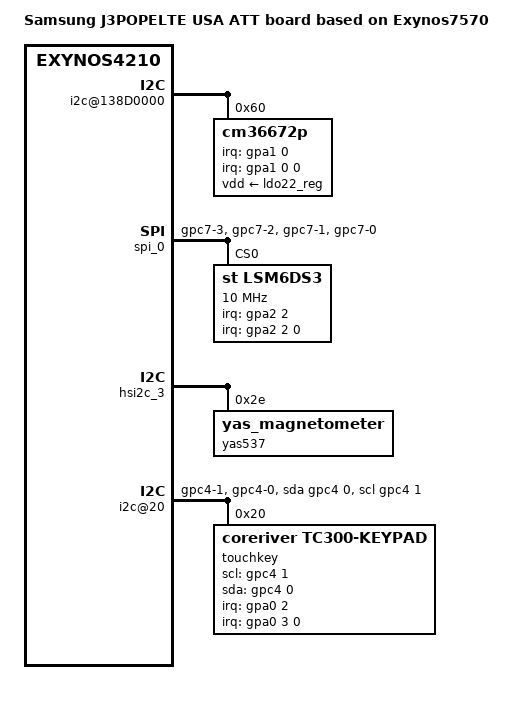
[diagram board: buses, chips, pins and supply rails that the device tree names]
/*
 * SAMSUNG UNIVERSAL7570 board device tree source
 *
 * Copyright (c) 2013 Samsung Electronics Co., Ltd.
 *		http://www.samsung.com
 *
 * This program is free software; you can redistribute it and/or modify
 * it under the terms of the GNU General Public License version 2 as
 * published by the Free Software Foundation.
*/

/dts-v1/;
#include "exynos7570-rmem.dtsi"
#include "exynos7570-j3pope_common.dtsi"
#include "modem-ss305ap-pdata.dtsi"
#include "exynos7570-j3popelte_battery.dtsi"
#include "exynos7570-j3popelte_usa_att_gpio_00.dtsi"

/ {
	model = "Samsung J3POPELTE USA ATT board based on Exynos7570";
        model_info-chip = <7570>;
        model_info-platform = "android";
        model_info-subtype = "samsung";
        model_info-hw_rev = <1>;
        model_info-hw_rev_end = <1>;
	compatible = "samsung,exynos7570", "samsung,exynos4210";

	pinctrl@139B0000 {
		fm_lna_en: fm-lna-en {
			samsung,pins = "gpd1-0";
			samsung,pin-function = <1>;
			samsung,pin-pud = <0>;
			samsung,pin-val = <0>;
		};
	};

	fm_gpio: fm@14840000 {
		elna_gpio = <&gpd1 0 0x1>; /* FM_LNA_EN */
		pinctrl-names = "default";
		pinctrl-0 = <&fm_lna_en>;
		fm_iclk_aux = <0>;
		fm_tc_on = <0>;
		status = "okay";
	};

	i2c@138D0000 {
		samsung,i2c-sda-delay = <100>;
		samsung,i2c-max-bus-freq = <400000>;
		status = "okay";
		#address-cells = <1>;
		#size-cells = <0>;
		pinctrl-names = "default";

		cm36672p@60 {
			compatible = "cm36672p";
			reg = <0x60>;
			pinctrl-names = "default";
			pinctrl-0 = <&prox_int>;
			interrupt-parent = <&gpa1>;
			interrupts = <0 0 0>;
			cm36672p,irq_gpio = <&gpa1 0 0>;
			cm36672p,vdd-supply = <&ldo22_reg>;
			cm36672p,vdd_always_on = <1>;
			cm36672p,regulator_divided = <1>;
			cm36672p,default_hi_thd = <17>;
			cm36672p,default_low_thd = <12>;
			cm36672p,cancel_hi_thd = <10>;
			cm36672p,cancel_low_thd = <7>;
			cm36672p,offset_range_hi = <21>;
			cm36672p,offset_range_low = <11>;
			cm36672p,default_trim = <0>;
			cm36672p,ps_duty = <2>;
			cm36672p,ps_pers = <2>;
			cm36672p,ps_it = <5>;
			cm36672p,led_current = <5>;
			cm36672p,ps_smart_pers = <1>;
		};
	};

	pinctrl@139E0000 {
		gpc7: gpc7 {
			gpio-controller;
			#gpio-cells = <2>;

			interrupt-controller;
			#interrupt-cells = <2>;
		};

		spi0_bus: spi0-bus {
			samsung,pins = "gpc7-3", "gpc7-2", "gpc7-1", "gpc7-0";
			samsung,pin-function = <2>;
			samsung,pin-pud = <3>;
			samsung,pin-drv = <2>;
		};
	};

	spi_0: spi@100C0000 {
		status = "okay";
		#address-cells = <1>;
		#size-cells = <0>;
		pinctrl-names = "default";
		pinctrl-0 = <&spi0_bus>;

		lsm6ds3@0 {
			compatible = "st,lsm6ds3";
			reg = <0>;
			spi-max-frequency = <10000000>;
			spi-cpol;
			spi-cpha;
			pinctrl-names = "default";
			pinctrl-0 = <&gyro_int>;
 			interrupt-parent = <&gpa2>;
			interrupts = <2 0 0>;
			st,orientation = <1 0 1 0 1 1 1 1 0>;
			st,drdy-int-pin = <1>;
			st,irq_gpio = <&gpa2 2 0>;

			gpio-controller;
			#gpio-cells = <2>;

			controller-data {
				samsung,spi-feedback-delay = <0>;
				samsung,spi-chip-select-mode = <0>;
			};
		};
	};

	hsi2c_3: hsi2c@138C0000 {
		compatible = "samsung,exynos5-hsi2c";
		samsung,check-transdone-int;
		reg = <0x0 0x138C0000 0x1000>;
		interrupts = <0 451 0>;
		#address-cells = <1>;
		#size-cells = <0>;
		pinctrl-names = "default";
		pinctrl-0 = <&hs_i2c3_bus>;
		clocks = <&clock 320>, <&clock 320>;
		clock-names = "rate_hsi2c", "gate_hsi2c";
		samsung,scl-clk-stretching;
		gpio_sda= <&gpf0 2 0x1>;
		gpio_scl= <&gpf0 3 0x1>;
		status = "okay";

		yas537@2e {
			compatible = "yas_magnetometer";
			reg = <0x2e>;
			yas,orientation = <7>;
			yas,softiron = <10000 0 0 0 10000 0 0 0 10000>;
			yas,softiron_sign = <2 1 1 1 2 1 1 1 2>;
		};
	};

	pinctrl@139F0000 {
		gyro_int: gyro_int {
			samsung,pins = "gpa2-2";
			samsung,pin-function = <0>;
			samsung,pin-pud = <0>;
			samsung,pin-drv = <0>;
		};

		prox_int: prox_int {
			samsung,pins = "gpa1-0";
			samsung,pin-function = <0x1>;
			samsung,pin-pud = <0>;
			samsung,pin-drv = <0>;
		};
	};

	pinctrl@139F0000 {
		tkey_irq: tkey-irq {
			samsung,pins = "gpa0-2";
			samsung,pin-function = <0xf>;
			samsung,pin-pud = <0>;
			samsung,pin-drv = <0>;
		};
		tkey_input: tkey-input {
			samsung,pins = "gpa0-2";
			samsung,pin-function = <0>;
			samsung,pin-pud = <0>;
			samsung,pin-drv = <0>;
		};
	};

	pinctrl@139B0000 {
		cfg_i2c: cfg-i2c {
			samsung,pins = "gpc4-1", "gpc4-0";
			samsung,pin-function = <2>;
			samsung,pin-pud = <0>;
			samsung,pin-drv = <0>;
		};
		cfg_gpio: cfg-gpio {
			samsung,pins = "gpc4-1", "gpc4-0";
			samsung,pin-function = <0>;
			samsung,pin-pud = <0>;
			samsung,pin-drv = <0>;
		};
	};

	i2c@20 {
		compatible = "i2c-gpio";
		gpios = <&gpc4 0 0
				&gpc4 1 0>;
		i2c-gpio,delay-us = <5>;
		pinctrl-names = "default","on_i2c","off_i2c";
		pinctrl-0 = <&cfg_i2c>;
		pinctrl-1 = <&cfg_i2c>;
		pinctrl-2 = <&cfg_gpio>;
		#address-cells = <1>;
		#size-cells = <0>;
		status = "okay";

		touchkey@20 {
			pinctrl-names = "on_irq","off_irq";
			pinctrl-0 = <&tkey_irq>;
			pinctrl-1 = <&tkey_input>;
			compatible = "coreriver,tc300-keypad";
			reg = <0x20>;
			interrupts = <3 0 0>;
			interrupt-parent = <&gpa0>;
			coreriver,scl-gpio = <&gpc4 1 0>;
			coreriver,sda-gpio = <&gpc4 0 0>;
			coreriver,irq-gpio = <&gpa0 2 0>;
			coreriver,i2c-gpio = "true";
			coreriver,boot-on-ldo = "true";
			coreriver,regulator_ic = "vtouch_2.2v";
			coreriver,fw_name = "coreriver/tc350k_j3pop.fw";
			coreriver,sensing_ch_num = <0x4>;
			coreriver,tsk_ic_num = <0x1>; /* tc300k : 0x00, tc350k : 0x01 */
			coreriver,use_bitmap = <1>;
		};
	};

	/* modem_interface */
	mif_pdata {
		pinctrl-0 = <&cp_gpio_on5 &cp_gpio_j3pop_old>;
	};

	speedy@10510000 {
		status = "okay";

		fimc_is_flash@06 {
			compatible = "samsung,sensor-flash-i2c";
			reg = <0x06>;
			id = <0>;
			flash-gpio = <&gpa0 0 0>;
			flash_current = <0>;
			preflash_current = <160>;
			movie_current = <160>;
			torch_current = <80>;
			factory_current = <160>;
			i2c-speedy-address;
		};
	};
};
